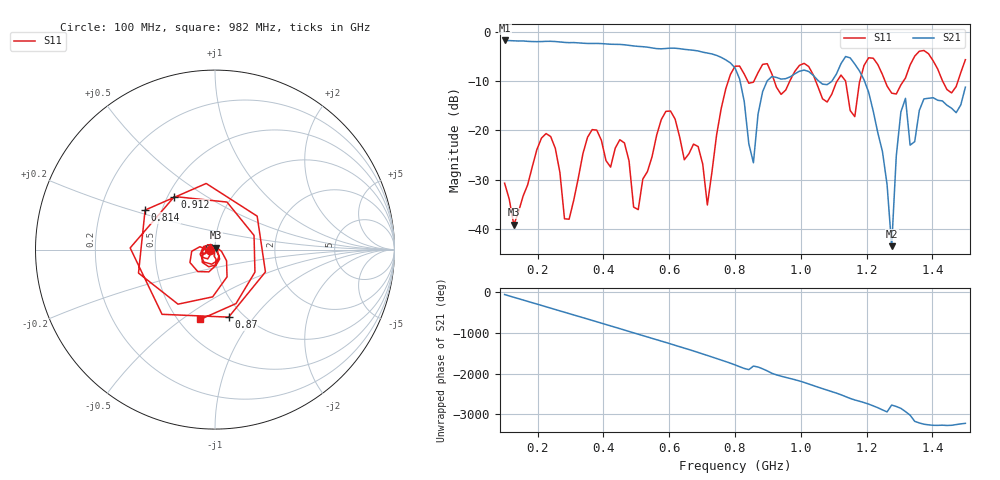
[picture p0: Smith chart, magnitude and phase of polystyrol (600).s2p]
! NanoVNA-App
! Date: 2025-09-25 15:34:33
! Start: 100MHz Stop: 1,5GHz Points: 101
! S-Parameter data: F S11 S21 S12 S22
# Hz S RI R 50
!  Frequency  S11_Real  S11_Imag  S21_Real  S21_Imag  S12_Real  S12_Imag  S22_Real  S22_Imag
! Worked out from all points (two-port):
!   101 points, 100 MHz to 1.5 GHz, reference 50 ohm
!   highest |S21| = -1.80 dB at 100 MHz (marker M1); lowest = -43.5 dB at 1.276 GHz (marker M2)
!   |S21| within 3 dB of the highest: start of sweep to 743 MHz
!   lowest |S11| = -39.1 dB at 128 MHz (marker M3), VSWR 1.02, Z = 50.3 + j1.06 ohm
!   |S11| at or under -10 dB: start of sweep to 779.7 MHz; 1.045 GHz to 1.111 GHz (65.43 MHz wide, 6.07 % of centre); 1.136 GHz to 1.179 GHz (43.33 MHz wide, 3.74 % of centre)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
!   S12 and S22 are empty: the file has one direction only
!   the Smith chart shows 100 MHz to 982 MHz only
!   S11 on the Smith chart (normalised r, x): 100 MHz: 0.94, -0.01; 814 MHz: 0.40, +0.22; 870 MHz: 0.86, -0.76; 912 MHz: 0.54, +0.37; 982 MHz: 0.64, -0.59
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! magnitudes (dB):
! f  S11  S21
! 100 MHz  -30.7  -1.8
! 128 MHz  -39.1  -1.9
! 212 MHz  -21.6  -2.0
! 282 MHz  -37.9  -2.2
! 338 MHz  -24.7  -2.4
! 464 MHz  -22.5  -2.7
! 506 MHz  -36.0  -3.0
! 576 MHz  -17.8  -3.5
! 716 MHz  -35.1  -4.3
! 800 MHz  -7.0  -7.4
! 814 MHz  -7.0  -9.6
! 856 MHz  -10.2  -26.6
! 870 MHz  -8.3  -16.7
! 912 MHz  -8.6  -9.1
! 982 MHz  -8.0  -8.5
! 1.038 GHz  -8.8  -8.9
! 1.164 GHz  -17.2  -6.6
! 1.192 GHz  -6.9  -9.8
! 1.276 GHz  -12.5  -43.5
! 1.318 GHz  -9.4  -13.5
! 1.332 GHz  -6.8  -23.0
! 1.5 GHz  -5.7  -11.3
